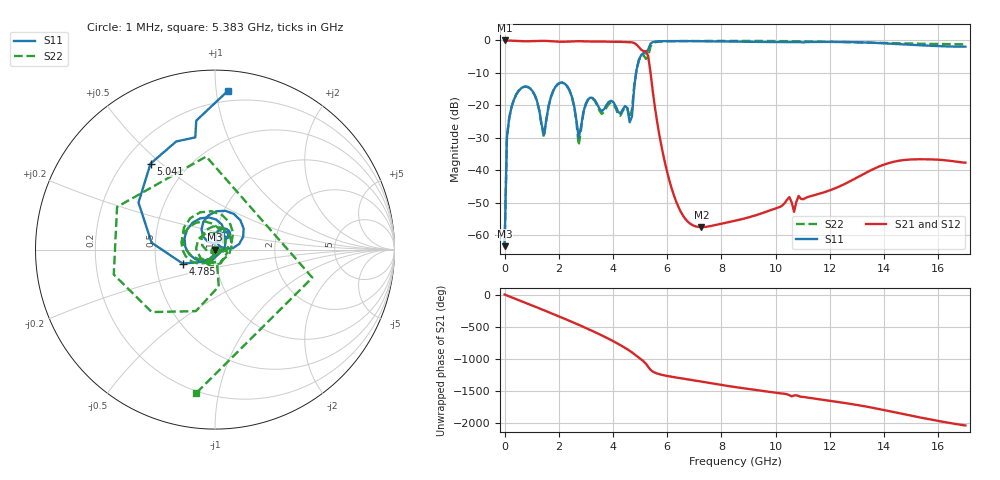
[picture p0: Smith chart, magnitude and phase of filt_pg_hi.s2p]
# GHz S RI R 50
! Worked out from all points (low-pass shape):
!   200 points, 1 MHz to 17 GHz, reference 50 ohm
!   highest |S21| = -0.01 dB at 1 MHz (marker M1); lowest = -57.5 dB at 7.262 GHz (marker M2)
!   |S21| within 3 dB of the highest: start of sweep to 5.073 GHz
!   lowest |S11| = -63.3 dB at 1 MHz (marker M3), VSWR 1.00, Z = 50.1 - j0.0333 ohm
!   |S11| at or under -10 dB: start of sweep to 4.853 GHz
!   |S22| runs from -63.3 to -0.1 dB; largest |S21 - S12| = 1.5e-13
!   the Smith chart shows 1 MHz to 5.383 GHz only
!   S11 on the Smith chart (normalised r, x): 1 MHz: 1.00, -0.00; 4.785 GHz: 0.69, -0.11; 5.041 GHz: 0.31, +0.46; 5.383 GHz: 0.13, +1.08
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0.001  0.000597 -0.000332  0.9994 -0.003  0.9994 -0.003  0.000597 -0.000333
0.08642211  -0.00806 -0.0313  0.965 -0.2524  0.965 -0.2524  -0.00608 -0.0319
0.4281106  -0.144 -0.0261  0.3034 -0.9351  0.3034 -0.9351  -0.1319 -0.0652
1.026065  0.00706 0.1672  -0.9632 -0.149  -0.9632 -0.149  -0.0564 0.1568
1.538598  -0.0405 0.0446  -0.1854 0.965  -0.1854 0.965  -0.0248 -0.0537
2.136553  0.1051 0.1987  0.9533 -0.0404  0.9533 -0.0404  -0.083 0.2074
2.905352  0.00312 0.0782  -0.7657 -0.5958  -0.7657 -0.5958  -0.0711 0.0231
3.503307  0.0638 0.0616  -0.2014 0.9417  -0.2014 0.9417  0.0783 -0.027
4.015839  0.0742 0.084  0.9474 -0.1055  0.9474 -0.1055  -0.0473 0.0935
4.44295  0.0417 0.0886  -0.2919 -0.8991  -0.2919 -0.8991  -0.0183 -0.0935
4.784638  -0.1798 -0.078  -0.8246 0.3906  -0.8246 0.3906  0.0209 -0.2051
5.040905  -0.3593 0.4791  0.2266 0.6843  0.2266 0.6843  -0.564 -0.1389
5.211749  -0.1097 0.6252  0.6774 0.0873  0.6774 0.0873  -0.0489 0.5186
5.297171  -0.1044 0.7186  0.4234 -0.3934  0.4234 -0.3934  0.5424 -0.1564
5.382593  0.0736 0.8861  0.00513 -0.3237  0.00513 -0.3237  -0.1058 -0.8003
5.724281  0.7192 0.6539  -0.0304 -0.0115  -0.0304 -0.0115  -0.9456 0.1712
7.261879  0.5418 -0.8082  6.69e-05 0.00134  6.69e-05 0.00134  0.3007 0.9346
8.543211  -0.6009 -0.7441  0.0017 -2.57e-06  0.0017 -2.57e-06  0.8669 0.4638
9.739121  -0.8955 0.301  0.000808 -0.00225  0.000808 -0.00225  0.9729 -0.1186
11.36214  0.221 0.9217  -0.00406 -0.000498  -0.00406 -0.000498  0.5759 -0.7748
14.18107  0.5243 -0.7249  0.0128 -0.00245  0.0128 -0.00245  -0.7193 -0.5597
17  -0.617 0.5119  -0.00775 0.0106  -0.00775 0.0106  -0.4616 0.7382
